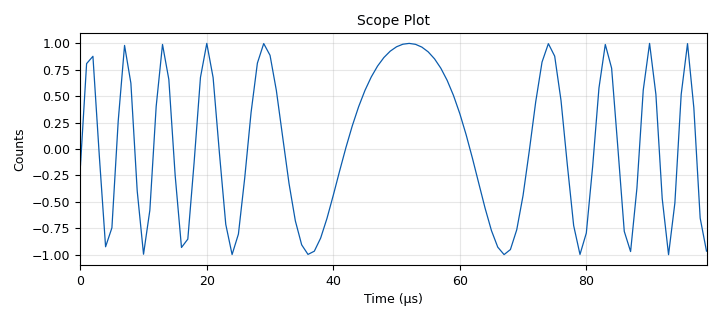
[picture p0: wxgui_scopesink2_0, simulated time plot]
<?xml version='1.0' encoding='utf-8'?>
<?grc format='1' created='3.7.9'?>
<flow_graph>
<block>
<key>options</key>
<param><key>id</key><value>top_block</value></param>
<param><key>category</key><value>Custom</value></param>
<param><key>generate_options</key><value>wx_gui</value></param>
</block>
<block>
<key>variable</key>
<param><key>id</key><value>samp_rate</value></param>
<param><key>value</key><value>1e6</value></param>
</block>
<block>
<key>analog_phase_modulator_fc</key>
<param><key>id</key><value>analog_phase_modulator_fc_0</value></param>
<param><key>sensitivity</key><value>100000</value></param>
</block>
<block>
<key>analog_sig_source_x</key>
<param><key>id</key><value>analog_sig_source_x_0</value></param>
<param><key>amp</key><value>1</value></param>
<param><key>freq</key><value>100000</value></param>
<param><key>offset</key><value>0</value></param>
<param><key>type</key><value>complex</value></param>
<param><key>samp_rate</key><value>samp_rate</value></param>
<param><key>waveform</key><value>analog.GR_COS_WAVE</value></param>
</block>
<block>
<key>analog_sig_source_x</key>
<param><key>id</key><value>analog_sig_source_x_0_0</value></param>
<param><key>amp</key><value>1</value></param>
<param><key>freq</key><value>10000</value></param>
<param><key>offset</key><value>0</value></param>
<param><key>type</key><value>float</value></param>
<param><key>samp_rate</key><value>samp_rate</value></param>
<param><key>waveform</key><value>analog.GR_COS_WAVE</value></param>
</block>
<block>
<key>blocks_complex_to_real</key>
<param><key>id</key><value>blocks_complex_to_real_0</value></param>
</block>
<block>
<key>blocks_multiply_xx</key>
<param><key>id</key><value>blocks_multiply_xx_0</value></param>
<param><key>type</key><value>complex</value></param>
</block>
<block>
<key>iir_filter_xxx</key>
<param><key>id</key><value>iir_filter_xxx_0</value></param>
<param><key>fftaps</key><value>0.000005</value></param>
<param><key>fbtaps</key><value>[1,1]</value></param>
<param><key>type</key><value>ffd</value></param>
</block>
<block>
<key>wxgui_scopesink2</key>
<param><key>id</key><value>wxgui_scopesink2_0</value></param>
<param><key>ac_couple</key><value>False</value></param>
<param><key>num_inputs</key><value>1</value></param>
<param><key>samp_rate</key><value>samp_rate</value></param>
<param><key>t_scale</key><value>0</value></param>
<param><key>title</key><value>Scope Plot</value></param>
<param><key>trig_mode</key><value>wxgui.TRIG_MODE_AUTO</value></param>
<param><key>type</key><value>float</value></param>
<param><key>v_offset</key><value>0</value></param>
<param><key>v_scale</key><value>0</value></param>
<param><key>xy_mode</key><value>False</value></param>
<param><key>y_axis_label</key><value>Counts</value></param>
</block>
<connection><source_block_id>analog_phase_modulator_fc_0</source_block_id><sink_block_id>blocks_multiply_xx_0</sink_block_id><source_key>0</source_key><sink_key>1</sink_key></connection>
<connection><source_block_id>analog_sig_source_x_0</source_block_id><sink_block_id>blocks_multiply_xx_0</sink_block_id><source_key>0</source_key><sink_key>0</sink_key></connection>
<connection><source_block_id>analog_sig_source_x_0_0</source_block_id><sink_block_id>iir_filter_xxx_0</sink_block_id><source_key>0</source_key><sink_key>0</sink_key></connection>
<connection><source_block_id>blocks_complex_to_real_0</source_block_id><sink_block_id>wxgui_scopesink2_0</sink_block_id><source_key>0</source_key><sink_key>0</sink_key></connection>
<connection><source_block_id>blocks_multiply_xx_0</source_block_id><sink_block_id>blocks_complex_to_real_0</sink_block_id><source_key>0</source_key><sink_key>0</sink_key></connection>
<connection><source_block_id>iir_filter_xxx_0</source_block_id><sink_block_id>analog_phase_modulator_fc_0</sink_block_id><source_key>0</source_key><sink_key>0</sink_key></connection>
</flow_graph>
